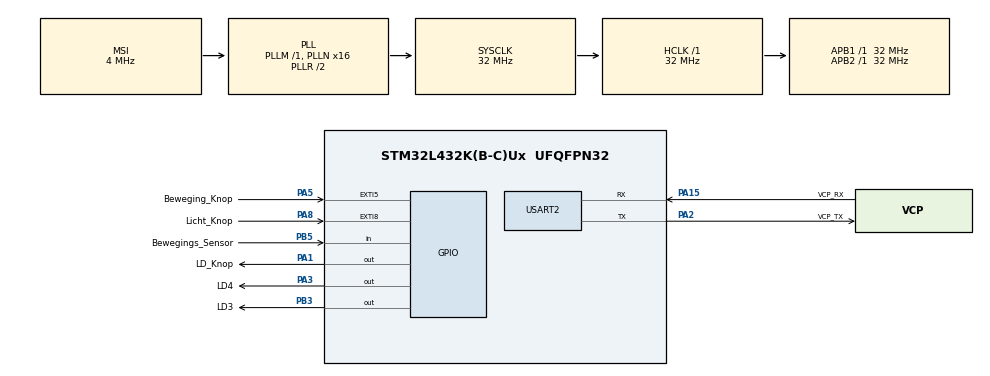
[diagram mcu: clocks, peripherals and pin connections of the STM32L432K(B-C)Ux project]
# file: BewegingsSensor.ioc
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Mcu.Family=STM32L4
Mcu.Name=STM32L432K(B-C)Ux
Mcu.Package=UFQFPN32
NVIC.EXTI9_5_IRQn=true\:0\:0\:false\:false\:true\:true\:true\:true
NVIC.PriorityGroup=NVIC_PRIORITYGROUP_4
NVIC.TIM2_IRQn=true\:0\:0\:false\:false\:true\:true\:true\:true
PA0.GPIO_Label=MCO [High speed clock in]
PA0.Mode=HSE-External-Clock-Source-for-LittleOrca
PA0.Signal=RCC_CK_IN
PA1.GPIO_Label=LD_Knop
PA1.Signal=GPIO_Output
PA13\ (JTMS-SWDIO).GPIO_Label=SWDIO
PA13\ (JTMS-SWDIO).Mode=Serial_Wire
PA13\ (JTMS-SWDIO).Signal=SYS_JTMS-SWDIO
PA14\ (JTCK-SWCLK).GPIO_Label=SWCLK
PA14\ (JTCK-SWCLK).Mode=Serial_Wire
PA14\ (JTCK-SWCLK).Signal=SYS_JTCK-SWCLK
PA15\ (JTDI).GPIO_Label=VCP_RX
PA15\ (JTDI).Mode=Asynchronous
PA15\ (JTDI).Signal=USART2_RX
PA2.GPIO_Label=VCP_TX
PA2.Mode=Asynchronous
PA2.Signal=USART2_TX
PA3.GPIO_Label=LD4
PA3.Signal=GPIO_Output
PA5.GPIO_Label=Beweging_Knop
PA5.GPIO_PuPd=GPIO_PULLUP
PA5.Signal=GPXTI5
PA8.GPIO_Label=Licht_Knop
PA8.GPIO_PuPd=GPIO_PULLUP
PA8.Signal=GPXTI8
PB3\ (JTDO-TRACESWO).GPIO_Label=LD3
PB3\ (JTDO-TRACESWO).Signal=GPIO_Output
PB5.GPIO_Label=Bewegings_Sensor
PB5.GPIO_PuPd=GPIO_PULLDOWN
PB5.Signal=GPIO_Input
PC14-OSC32_IN\ (PC14).Mode=LSE-External-Oscillator
PC14-OSC32_IN\ (PC14).Signal=RCC_OSC32_IN
PC15-OSC32_OUT\ (PC15).Mode=LSE-External-Oscillator
PC15-OSC32_OUT\ (PC15).Signal=RCC_OSC32_OUT
ProjectManager.HeapSize=0x200
ProjectManager.StackSize=0x400
ProjectManager.TargetToolchain=STM32CubeIDE
RCC.AHBFreq_Value=32000000
RCC.APB1Freq_Value=32000000
RCC.APB1TimFreq_Value=32000000
RCC.APB2Freq_Value=32000000
RCC.APB2TimFreq_Value=32000000
RCC.CortexFreq_Value=32000000
RCC.HCLKFreq_Value=32000000
RCC.HSE_VALUE=8000000
RCC.HSI16_VALUE=16000000
RCC.HSI48_VALUE=48000000
RCC.HSI_VALUE=16000000
RCC.MSI_VALUE=4000000
RCC.PLLMUL=RCC_PLLMUL_4
RCC.PLLN=16
RCC.SYSCLKFreq_VALUE=32000000
RCC.SYSCLKSource=RCC_SYSCLKSOURCE_PLLCLK
RCC.VCOOutputFreq_Value=64000000
TIM2.AutoReloadPreload=TIM_AUTORELOAD_PRELOAD_DISABLE
TIM2.Period=25000
TIM2.Prescaler=4800-1
USART2.VirtualMode-Asynchronous=VM_ASYNC
VP_TIM2_VS_ClockSourceINT.Mode=Internal
board=NUCLEO-L432KC

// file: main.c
/* USER CODE BEGIN Header */
/**
  ******************************************************************************
  * @file           : main.c
  * @brief          : Main program body
  ******************************************************************************
  * @attention
  *
  * Copyright (c) 2024 STMicroelectronics.
  * All rights reserved.
  *
  * This software is licensed under terms that can be found in the LICENSE file
  * in the root directory of this software component.
  * If no LICENSE file comes with this software, it is provided AS-IS.
  *
  ******************************************************************************
  */
  /* USER CODE END Header */
  /* Includes ------------------------------------------------------------------*/
#include "main.h"

/* USER CODE BEGIN PD */
#define DEBOUNCE_DELAY_MS 20 // Adjust this value as needed
/* USER CODE END PD */

TIM_HandleTypeDef htim2;

UART_HandleTypeDef huart2;

/* USER CODE BEGIN PV */
uint32_t lastButtonPressTime = 0;

/* USER CODE END PV */

void SystemClock_Config(void);
static void MX_GPIO_Init(void);
static void MX_USART2_UART_Init(void);
static void MX_TIM2_Init(void);

/* USER CODE BEGIN 0 */
int beweging = 1;
/* USER CODE END 0 */

int main(void)
{

    /* MCU Configuration--------------------------------------------------------*/

    /* Reset of all peripherals, Initializes the Flash interface and the Systick. */
    HAL_Init();

    /* Configure the system clock */
    SystemClock_Config();

    /* Initialize all configured peripherals */
    MX_GPIO_Init();
    MX_USART2_UART_Init();
    MX_TIM2_Init();

    /* Infinite loop */
    /* USER CODE BEGIN WHILE */
    /**
      ******************************************************************************
      * @brief      While-loop
      *
      * @details    In de while wordt de waarde van de sensor uitgelezen en wordt de LED aangezet
      * 			  als de sensor waarde 1 is en hij aanstaat. Ook wordt dan de Timer van 5 seconde
      * 			  gestart.
      *
      * @retval     uint8_t sensorValue leest de waarde van de Bewegingssensor uit.
      ******************************************************************************
      */
    while (1)
    {
        // Lees de bewegingssensor waarde uit
        uint8_t sensorValue = HAL_GPIO_ReadPin(Bewegings_Sensor_GPIO_Port, Bewegings_Sensor_Pin);
        // Als er beweging wordt gedetecteerd zal de Led aangaan en wordt de timer gestart.}
        if (sensorValue == 1 && beweging) {
            HAL_TIM_Base_Start_IT(&htim2); //timer 2 wordt gestart
            __HAL_TIM_SET_COUNTER(&htim2, 0); // counter van de timer wordt op 0 gezet
            HAL_GPIO_WritePin(LD4_GPIO_Port, LD4_Pin, GPIO_PIN_SET); // De LED wordt aangezet.
        }

        /* USER CODE END WHILE */

    }
}

void SystemClock_Config(void)
{
    RCC_OscInitTypeDef RCC_OscInitStruct = { 0 };
    RCC_ClkInitTypeDef RCC_ClkInitStruct = { 0 };

    /** Configure the main internal regulator output voltage
    */
    if (HAL_PWREx_ControlVoltageScaling(PWR_REGULATOR_VOLTAGE_SCALE1) != HAL_OK)
    {
        Error_Handler();
    }

    /** Configure LSE Drive Capability
    */
    HAL_PWR_EnableBkUpAccess();
    __HAL_RCC_LSEDRIVE_CONFIG(RCC_LSEDRIVE_LOW);

    /** Initializes the RCC Oscillators according to the specified parameters
    * in the RCC_OscInitTypeDef structure.
    */
    RCC_OscInitStruct.OscillatorType = RCC_OSCILLATORTYPE_LSE | RCC_OSCILLATORTYPE_MSI;
    RCC_OscInitStruct.LSEState = RCC_LSE_ON;
    RCC_OscInitStruct.MSIState = RCC_MSI_ON;
    RCC_OscInitStruct.MSICalibrationValue = 0;
    RCC_OscInitStruct.MSIClockRange = RCC_MSIRANGE_6;
    RCC_OscInitStruct.PLL.PLLState = RCC_PLL_ON;
    RCC_OscInitStruct.PLL.PLLSource = RCC_PLLSOURCE_MSI;
    RCC_OscInitStruct.PLL.PLLM = 1;
    RCC_OscInitStruct.PLL.PLLN = 16;
    RCC_OscInitStruct.PLL.PLLP = RCC_PLLP_DIV7;
    RCC_OscInitStruct.PLL.PLLQ = RCC_PLLQ_DIV2;
    RCC_OscInitStruct.PLL.PLLR = RCC_PLLR_DIV2;
    if (HAL_RCC_OscConfig(&RCC_OscInitStruct) != HAL_OK)
    {
        Error_Handler();
    }

    /** Initializes the CPU, AHB and APB buses clocks
    */
    RCC_ClkInitStruct.ClockType = RCC_CLOCKTYPE_HCLK | RCC_CLOCKTYPE_SYSCLK
        | RCC_CLOCKTYPE_PCLK1 | RCC_CLOCKTYPE_PCLK2;
    RCC_ClkInitStruct.SYSCLKSource = RCC_SYSCLKSOURCE_PLLCLK;
    RCC_ClkInitStruct.AHBCLKDivider = RCC_SYSCLK_DIV1;
    RCC_ClkInitStruct.APB1CLKDivider = RCC_HCLK_DIV1;
    RCC_ClkInitStruct.APB2CLKDivider = RCC_HCLK_DIV1;

    if (HAL_RCC_ClockConfig(&RCC_ClkInitStruct, FLASH_LATENCY_1) != HAL_OK)
    {
        Error_Handler();
    }

    /** Enable MSI Auto calibration
    */
    HAL_RCCEx_EnableMSIPLLMode();
}

static void MX_TIM2_Init(void)
{

    TIM_ClockConfigTypeDef sClockSourceConfig = { 0 };
    TIM_MasterConfigTypeDef sMasterConfig = { 0 };

    htim2.Instance = TIM2;
    htim2.Init.Prescaler = 4800 - 1;
    htim2.Init.CounterMode = TIM_COUNTERMODE_UP;
    htim2.Init.Period = 25000;
    htim2.Init.ClockDivision = TIM_CLOCKDIVISION_DIV1;
    htim2.Init.AutoReloadPreload = TIM_AUTORELOAD_PRELOAD_DISABLE;
    if (HAL_TIM_Base_Init(&htim2) != HAL_OK)
    {
        Error_Handler();
    }
    sClockSourceConfig.ClockSource = TIM_CLOCKSOURCE_INTERNAL;
    if (HAL_TIM_ConfigClockSource(&htim2, &sClockSourceConfig) != HAL_OK)
    {
        Error_Handler();
    }
    sMasterConfig.MasterOutputTrigger = TIM_TRGO_RESET;
    sMasterConfig.MasterSlaveMode = TIM_MASTERSLAVEMODE_DISABLE;
    if (HAL_TIMEx_MasterConfigSynchronization(&htim2, &sMasterConfig) != HAL_OK)
    {
        Error_Handler();
    }

}

static void MX_USART2_UART_Init(void)
{

    huart2.Instance = USART2;
    huart2.Init.BaudRate = 115200;
    huart2.Init.WordLength = UART_WORDLENGTH_8B;
    huart2.Init.StopBits = UART_STOPBITS_1;
    huart2.Init.Parity = UART_PARITY_NONE;
    huart2.Init.Mode = UART_MODE_TX_RX;
    huart2.Init.HwFlowCtl = UART_HWCONTROL_NONE;
    huart2.Init.OverSampling = UART_OVERSAMPLING_16;
    huart2.Init.OneBitSampling = UART_ONE_BIT_SAMPLE_DISABLE;
    huart2.AdvancedInit.AdvFeatureInit = UART_ADVFEATURE_NO_INIT;
    if (HAL_UART_Init(&huart2) != HAL_OK)
    {
        Error_Handler();
    }

}

static void MX_GPIO_Init(void)
{
    GPIO_InitTypeDef GPIO_InitStruct = { 0 };

      /* GPIO Ports Clock Enable */
    __HAL_RCC_GPIOC_CLK_ENABLE();
    __HAL_RCC_GPIOA_CLK_ENABLE();
    __HAL_RCC_GPIOB_CLK_ENABLE();

    /*Configure GPIO pin Output Level */
    HAL_GPIO_WritePin(GPIOA, LD_Knop_Pin | LD4_Pin, GPIO_PIN_RESET);

    /*Configure GPIO pin Output Level */
    HAL_GPIO_WritePin(LD3_GPIO_Port, LD3_Pin, GPIO_PIN_RESET);

    /*Configure GPIO pins : LD_Knop_Pin LD4_Pin */
    GPIO_InitStruct.Pin = LD_Knop_Pin | LD4_Pin;
    GPIO_InitStruct.Mode = GPIO_MODE_OUTPUT_PP;
    GPIO_InitStruct.Pull = GPIO_NOPULL;
    GPIO_InitStruct.Speed = GPIO_SPEED_FREQ_LOW;
    HAL_GPIO_Init(GPIOA, &GPIO_InitStruct);

    /*Configure GPIO pins : Beweging_Knop_Pin Licht_Knop_Pin */
    GPIO_InitStruct.Pin = Beweging_Knop_Pin | Licht_Knop_Pin;
    GPIO_InitStruct.Mode = GPIO_MODE_IT_RISING;
    GPIO_InitStruct.Pull = GPIO_PULLUP;
    HAL_GPIO_Init(GPIOA, &GPIO_InitStruct);

    /*Configure GPIO pin : LD3_Pin */
    GPIO_InitStruct.Pin = LD3_Pin;
    GPIO_InitStruct.Mode = GPIO_MODE_OUTPUT_PP;
    GPIO_InitStruct.Pull = GPIO_NOPULL;
    GPIO_InitStruct.Speed = GPIO_SPEED_FREQ_LOW;
    HAL_GPIO_Init(LD3_GPIO_Port, &GPIO_InitStruct);

    /*Configure GPIO pin : Bewegings_Sensor_Pin */
    GPIO_InitStruct.Pin = Bewegings_Sensor_Pin;
    GPIO_InitStruct.Mode = GPIO_MODE_INPUT;
    GPIO_InitStruct.Pull = GPIO_PULLDOWN;
    HAL_GPIO_Init(Bewegings_Sensor_GPIO_Port, &GPIO_InitStruct);

    /* EXTI interrupt init*/
    HAL_NVIC_SetPriority(EXTI9_5_IRQn, 0, 0);
    HAL_NVIC_EnableIRQ(EXTI9_5_IRQn);

}

/* USER CODE BEGIN 4 */
/**
  ******************************************************************************
  * @brief      Zet de bewegingssensor uit.
  *
  * @details    Deze functie zet de bewegingssensor uit, stuurt een bericht via UART
  *             om de status te melden, zet de LED uit en stopt de timer.
  *
  * @retval     int   Geeft aan of de sensor is uitgeschakeld (0).
  ******************************************************************************
  */
int Sensor_uit() {
    int aan = 0; /**< Variabele om aan te geven dat de sensor uit is */
    uint8_t tekst2[] = { "Bewegingssensor uit!\n\r" }; /**< Tekst om via UART te verzenden */
    HAL_UART_Transmit(&huart2, tekst2, sizeof tekst2, HAL_MAX_DELAY); /**< Verzend bericht via UART */
    HAL_GPIO_WritePin(LD4_GPIO_Port, LD4_Pin, GPIO_PIN_RESET); /**< Zet LED uit */
    HAL_TIM_Base_Stop(&htim2); /**< Stop de timer */
    return aan; /**< Geef aan dat sensor uit is */
}

/**
  ******************************************************************************
  * @brief      Zet de bewegingssensor aan.
  *
  * @details    Deze functie zet de bewegingssensor aan en geeft aan dat de sensor
  *             weer is ingeschakeld.
  *
  * @retval     int   Geeft aan dat de sensor is ingeschakeld (1).
  ******************************************************************************
  */
int Sensor_aan() {
    int aan = 1; /**< Variabele om aan te geven dat de sensor aan is */
    return aan; /**< Geef aan dat sensor aan is */
}

/**
  ******************************************************************************
  * @brief      Callback-functie voor GPIO-interrupts.
  *
  * @details    Deze functie wordt aangeroepen wanneer een GPIO-interrupt wordt gedetecteerd.
  *             Het voert debouncing uit en schakelt de bewegingssensor in of uit, afhankelijk
  *             van welke knop is ingedrukt.
  *
  * @param[in]  GPIO_Pin   De pin waarvoor de interrupt is geactiveerd.
  ******************************************************************************
  */
void HAL_GPIO_EXTI_Callback(uint16_t GPIO_Pin) {
    static uint32_t last_interrupt_time = 0; /**< Tijd van de laatste interrupt */
    uint32_t current_time = HAL_GetTick(); /**< Huidige tijd */
    uint32_t debounce_delay = 200; /**< Debounce-vertraging in milliseconden */

    // Controleer of de tijd sinds de laatste knopdruk voldoet aan de debounce-vertraging
    if ((current_time - last_interrupt_time) > debounce_delay) {
        // Controleer of de lichtknop is ingedrukt
        if (GPIO_Pin == Licht_Knop_Pin) {
            uint8_t tekst1[] = { "interrupt!\n\r" }; /**< Tekst om via UART te verzenden */
            HAL_UART_Transmit(&huart2, tekst1, sizeof tekst1, HAL_MAX_DELAY); /**< Verzend bericht via UART */
            HAL_GPIO_TogglePin(LD4_GPIO_Port, LD4_Pin); /**< Toggle de LED */
            if (__HAL_TIM_GET_COUNTER(&htim2) > 0) {
                HAL_TIM_Base_Stop(&htim2); /**< Stop de timer indien actief */
            }
        }
        // Controleer of de bewegingsknop is ingedrukt
        if (GPIO_Pin == Beweging_Knop_Pin) {
            if (beweging) { // Controleer of de sensor aan staat
                beweging = Sensor_uit(); // Zet sensor uit
                HAL_GPIO_WritePin(LD_Knop_GPIO_Port, LD_Knop_Pin, GPIO_PIN_SET); // Zet LED op knop aan
            }
            else {
                beweging = Sensor_aan(); // Zet sensor aan
                HAL_GPIO_WritePin(LD_Knop_GPIO_Port, LD_Knop_Pin, GPIO_PIN_RESET); // Zet LED op knop uit
            }
        }
        last_interrupt_time = current_time; /**< Update de tijd van de laatste interrupt */
    }
}

/**
  ******************************************************************************
  * @brief      Callback-functie voor periode-afgelopen gebeurtenissen van de timer.
  *
  * @details    Deze functie wordt aangeroepen wanneer de periode van de timer is verstreken.
  *             Het zet de LED uit en stopt de timer.
  *
  * @param[in]  htim   Handle van de timer waarvoor de gebeurtenis is opgetreden.
  ******************************************************************************
  */
void HAL_TIM_PeriodElapsedCallback(TIM_HandleTypeDef* htim)
{
    // Controleer of het de juiste timer is
    if (htim == &htim2) {
        HAL_GPIO_WritePin(LD4_GPIO_Port, LD4_Pin, GPIO_PIN_RESET); /**< Zet LED uit */
        HAL_TIM_Base_Stop(&htim2); /**< Stop de timer */
    }
}

/* USER CODE END 4 */

void Error_Handler(void)
{
    __disable_irq();
    while (1)
    {
    }
}
